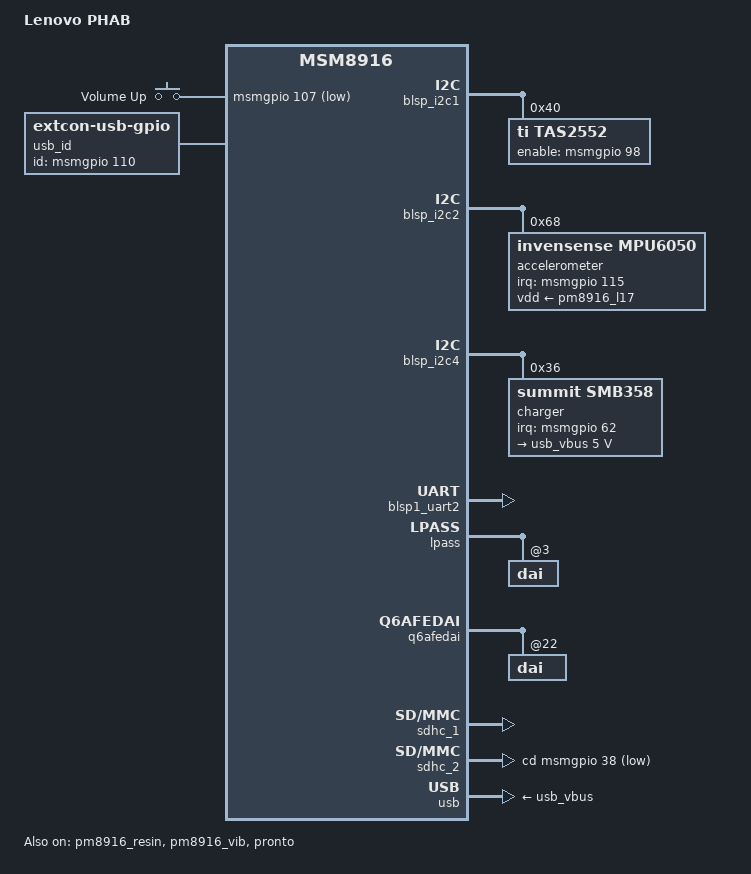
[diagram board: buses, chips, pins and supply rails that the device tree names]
// SPDX-License-Identifier: GPL-2.0-only

/dts-v1/;

#include "msm8916-pm8916.dtsi"
#include "msm8916-modem.dtsi"

#include <dt-bindings/gpio/gpio.h>
#include <dt-bindings/input/input.h>
#include <dt-bindings/pinctrl/qcom,pmic-mpp.h>
#include <dt-bindings/sound/apq8016-lpass.h>

/ {
	model = "Lenovo PHAB";
	compatible = "lenovo,phab", "qcom,msm8916";
	chassis-type = "tablet";

	aliases {
		serial0 = &blsp1_uart2;
	};

	chosen {
		stdout-path = "serial0";
	};

	reserved-memory {
		mpss_mem: mpss@86800000 {
			reg = <0x0 0x86800000 0x0 0x5500000>;
			no-map;
		};

		gps_mem: gps@8bd00000 {
			reg = <0x0 0x8bd00000 0x0 0x200000>;
			no-map;
		};
	};

	gpio-keys {
		compatible = "gpio-keys";
		pinctrl-0 = <&gpio_keys_default>;
		pinctrl-names = "default";
		label = "GPIO Buttons";

		button-volume-up {
			label = "Volume Up";
			gpios = <&msmgpio 107 GPIO_ACTIVE_LOW>;
			linux,code = <KEY_VOLUMEUP>;
			debounce-interval = <15>;
		};
	};

	usb_id: usb-id {
		compatible = "linux,extcon-usb-gpio";
		id-gpios = <&msmgpio 110 GPIO_ACTIVE_HIGH>;
		pinctrl-0 = <&usb_id_default>;
		pinctrl-names = "default";
	};
};

&blsp_i2c1 {
	status = "okay";

	tas2552: tas2552@40 {
		compatible = "ti,tas2552";
		reg = <0x40>;
		#sound-dai-cells = <0>;
		enable-gpio = <&msmgpio 98 GPIO_ACTIVE_HIGH>;
	};
};

&blsp_i2c2 {
	status = "okay";

	accelerometer: accelerometer@68 {
		compatible = "invensense,mpu6050";
		reg = <0x68>;
		interrupt-parent = <&msmgpio>;
		interrupts = <115 IRQ_TYPE_EDGE_FALLING>;
		pinctrl-0 = <&mpu_default>;
		pinctrl-1 = <&mpu_sleep>;
		pinctrl-names = "default", "sleep";
		vdd-supply = <&pm8916_l17>;
	};
};

&blsp_i2c4 {
	status = "okay";

	charger: charger@57 {
		compatible = "summit,smb358";
		reg = <0x36>;
		interrupt-parent = <&msmgpio>;
		interrupts = <62 IRQ_TYPE_LEVEL_LOW>;
		pinctrl-0 = <&smb_int_default>;
		pinctrl-names = "default";
		summit,enable-usb-charging;
		summit,enable-mains-charging;

		usb_vbus: usb-vbus {
			regulator-name = "usb_vbus";
			regulator-min-microvolt = <5000000>;
			regulator-max-microvolt = <5000000>;
			regulator-min-microamp = <750000>;
			regulator-max-microamp = <750000>;
			summit,needs-inok-toggle;
		};
	};
};

&blsp1_uart2 {
	status = "okay";
};

&lpass {
	dai@3 {
		reg = <MI2S_QUATERNARY>;
		qcom,playback-sd-lines = <1>;
	};
};

&pm8916_resin {
	linux,code = <KEY_VOLUMEDOWN>;
	status = "okay";
};

&pm8916_vib {
	status = "okay";
};

&pronto {
	status = "okay";

	iris {
		compatible = "qcom,wcn3660b";
	};
};

&q6afedai {
	dai@22 {
		reg = <QUATERNARY_MI2S_RX>;
		qcom,sd-lines = <1>;
	};
};

&sdhc_1 {
	pinctrl-0 = <&sdc1_clk_on &sdc1_cmd_on &sdc1_data_on>;
	pinctrl-1 = <&sdc1_clk_off &sdc1_cmd_off &sdc1_data_off>;
	pinctrl-names = "default", "sleep";
	status = "okay";
};

&sdhc_2 {
	pinctrl-0 = <&sdc2_clk_on &sdc2_cmd_on &sdc2_data_on &sdc2_cd_on>;
	pinctrl-1 = <&sdc2_clk_off &sdc2_cmd_off &sdc2_data_off &sdc2_cd_off>;
	pinctrl-names = "default", "sleep";
	cd-gpios = <&msmgpio 38 GPIO_ACTIVE_LOW>;
	status = "okay";
};

&sound {
	model = "msm8916";
	pinctrl-0 = <&cdc_pdm_lines_act &ext_sec_tlmm_lines_act>;
	pinctrl-1 = <&cdc_pdm_lines_sus &ext_sec_tlmm_lines_sus>;
	pinctrl-names = "default", "sleep";
	qcom,audio-routing =
		"RX_BIAS", "MCLK",
		"SPK_RX_BIAS", "MCLK",
		"INT_LDO_H", "MCLK",
		"MIC BIAS External", "Handset Mic",
		"MIC BIAS Internal2", "Headset Mic",
		"MIC BIAS External", "Secondary Mic",
		"AMIC1", "MIC BIAS External",
		"AMIC2", "MIC BIAS Internal2",
		"AMIC3", "MIC BIAS External",
		"DMIC1", "MIC BIAS Internal1",
		"MIC BIAS Internal1", "Digital Mic1",
		"DMIC2", "MIC BIAS Internal1",
		"MIC BIAS Internal1", "Digital Mic2";
	status = "okay";
};

&sound_dai_quaternary {
	status = "okay";

	codec {
		sound-dai = <&tas2552>;
	};
};

&usb {
	extcon = <&charger>, <&usb_id>;
	vbus-supply = <&usb_vbus>;
	status = "okay";
};

&usb_hs_phy {
	extcon = <&charger>;
};

&smd_rpm_regulators {
	vdd_l1_l2_l3-supply = <&pm8916_s3>;
	vdd_l4_l5_l6-supply = <&pm8916_s4>;
	vdd_l7-supply = <&pm8916_s4>;

	s3 {
		regulator-min-microvolt = <1200000>;
		regulator-max-microvolt = <1300000>;
	};

	s4 {
		regulator-min-microvolt = <1800000>;
		regulator-max-microvolt = <2100000>;
	};

	l1 {
		regulator-min-microvolt = <1225000>;
		regulator-max-microvolt = <1225000>;
	};

	l2 {
		regulator-min-microvolt = <1200000>;
		regulator-max-microvolt = <1200000>;
	};

	l4 {
		regulator-min-microvolt = <2050000>;
		regulator-max-microvolt = <2050000>;
	};

	l5 {
		regulator-min-microvolt = <1800000>;
		regulator-max-microvolt = <1800000>;
	};

	l6 {
		regulator-min-microvolt = <1800000>;
		regulator-max-microvolt = <1800000>;
	};

	l7 {
		regulator-min-microvolt = <1800000>;
		regulator-max-microvolt = <1800000>;
	};

	l8 {
		regulator-min-microvolt = <2850000>;
		regulator-max-microvolt = <2900000>;
	};

	l9 {
		regulator-min-microvolt = <3300000>;
		regulator-max-microvolt = <3300000>;
	};

	l10 {
		regulator-min-microvolt = <2700000>;
		regulator-max-microvolt = <2800000>;
	};

	l11 {
		regulator-min-microvolt = <1800000>;
		regulator-max-microvolt = <2950000>;
		regulator-allow-set-load;
		regulator-system-load = <200000>;
	};

	l12 {
		regulator-min-microvolt = <1800000>;
		regulator-max-microvolt = <2950000>;
	};

	l13 {
		regulator-min-microvolt = <3075000>;
		regulator-max-microvolt = <3075000>;
	};

	l14 {
		regulator-min-microvolt = <1800000>;
		regulator-max-microvolt = <3300000>;
	};

	l15 {
		regulator-min-microvolt = <1800000>;
		regulator-max-microvolt = <3300000>;
	};

	l16 {
		regulator-min-microvolt = <1800000>;
		regulator-max-microvolt = <3300000>;
	};

	l17 {
		regulator-min-microvolt = <2850000>;
		regulator-max-microvolt = <2850000>;
	};

	l18 {
		regulator-min-microvolt = <2700000>;
		regulator-max-microvolt = <2700000>;
	};
};

&msmgpio {
	usb_id_default: usb-id-default-state {
		pins = "gpio110";
		function = "gpio";
		drive-strength = <8>;
		bias-pull-up;
	};

	gpio_keys_default: gpio-keys-default-state {
		pins = "gpio107";
		function = "gpio";
		drive-strength = <2>;
		bias-pull-up;
	};

	smb_int_default: smb-int-default-state {
		pins = "gpio62";
		function = "gpio";

		drive-strength = <2>;
		bias-pull-up;
	};

	mpu_default: mpu-default-state {
		pins = "gpio115";
		function = "gpio";
		drive-strength = <6>;
		bias-pull-up;
	};

	mpu_sleep: mpu-sleep-state {
		pins = "gpio115";
		function = "gpio";
		drive-strength = <2>;
	};
};
